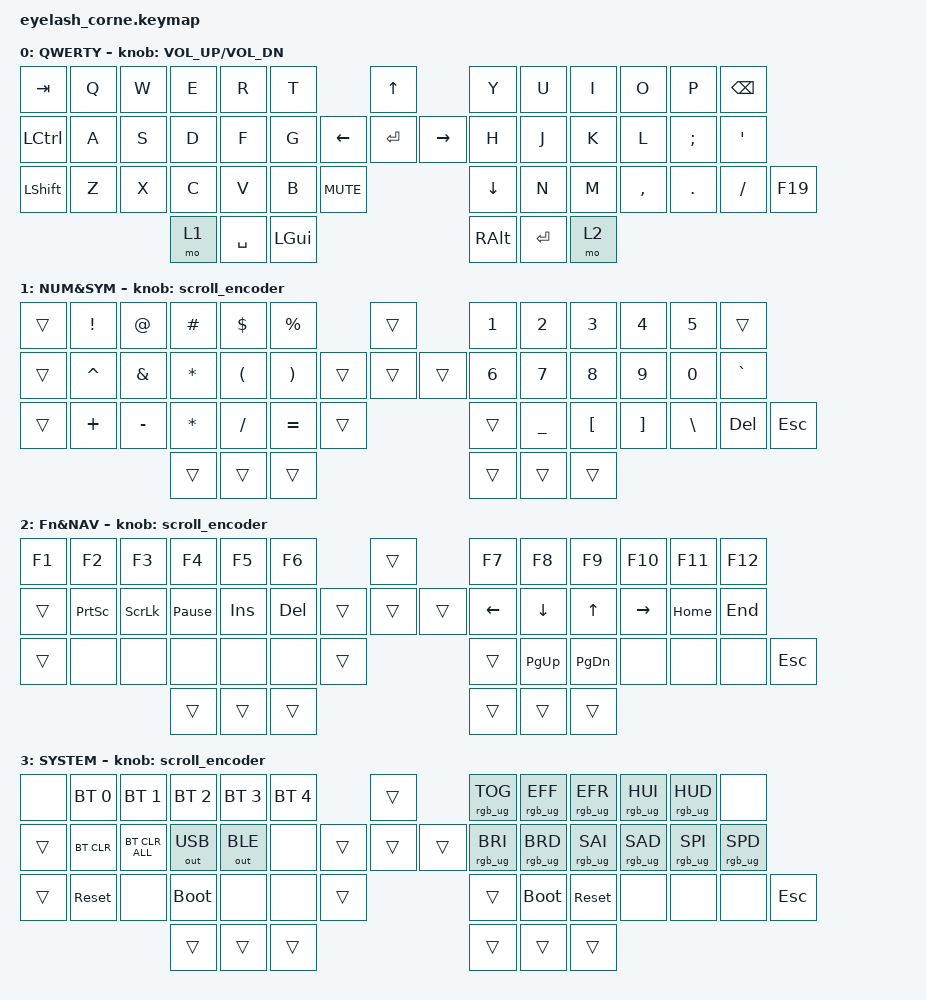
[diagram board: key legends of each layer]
#define ZMK_POINTING_DEFAULT_MOVE_VAL 1200  // 600
#define ZMK_POINTING_DEFAULT_SCRL_VAL 25   // 10

#include <input/processors.dtsi>
#include <zephyr/dt-bindings/input/input-event-codes.h>
#include <behaviors.dtsi>
#include <dt-bindings/zmk/bt.h>
#include <dt-bindings/zmk/keys.h>
#include <dt-bindings/zmk/outputs.h>
#include <dt-bindings/zmk/pointing.h>
#include <dt-bindings/zmk/rgb.h>

&mmv_input_listener { input-processors = <&zip_xy_scaler 2 1>; };

&msc_input_listener { input-processors = <&zip_scroll_scaler 2 1>; };

&msc {
    acceleration-exponent = <1>;      // 0
    time-to-max-speed-ms = <100>;       // 300
    delay-ms = <0>;                   // 0
};

&mmv {
    time-to-max-speed-ms = <500>;
    acceleration-exponent = <1>;
    trigger-period-ms = <16>;
};

&soft_off { hold-time-ms = <2000>; };

/ {
    rgb_encoder: rgb_encoder {
        compatible = "zmk,behavior-sensor-rotate";
        #sensor-binding-cells = <0>;
        bindings = <&rgb_ug RGB_BRI>, <&rgb_ug RGB_BRD>;
    };

    scroll_encoder: scroll_encoder {
        compatible = "zmk,behavior-sensor-rotate";
        #sensor-binding-cells = <0>;
        bindings = <&msc SCRL_DOWN>, <&msc SCRL_UP>;

        tap-ms = <100>;
    };

    combos {
        compatible = "zmk,combos";

        softoff {
            bindings = <&soft_off>;
            key-positions = <1 15 29>;
        };
    };

    conditional_layers {
        compatible = "zmk,conditional-layers";
        tri_layer {
            if-layers = <1 2>;
            then-layer = <3>;
        };
    };

    keymap {
        compatible = "zmk,keymap";

        default_layer {
            display-name = "QWERTY";
            bindings = <
&kp TAB    &kp Q  &kp W  &kp E     &kp R  &kp T                               &kp UP                &kp Y        &kp U  &kp I      &kp O    &kp P     &kp BSPC
&kp LCTRL  &kp A  &kp S  &kp D     &kp F  &kp G                     &kp LEFT  &kp ENTER  &kp RIGHT  &kp H        &kp J  &kp K      &kp L    &kp SEMI  &kp SQT
&kp LEFT_SHIFT  &kp Z  &kp X  &kp C     &kp V  &kp B        &kp C_MUTE              &kp DOWN              &kp N        &kp M  &kp COMMA  &kp DOT  &kp FSLH  &kp F19
                         &mo 1  &kp SPACE  &kp LGUI                                               &kp RALT  &kp ENTER  &mo 2
            >;

            sensor-bindings = <&inc_dec_kp C_VOLUME_UP C_VOL_DN>;
        };

        lower_layer {
            display-name = "NUM&SYM";
            bindings = <
&trans  &kp EXCL   &kp AT     &kp HASH   &kp DLLR  &kp PRCNT                            &trans                   &kp N1     &kp N2    &kp N3    &kp N4    &kp N5   &trans
&trans  &kp CARET  &kp AMPS   &kp ASTRK  &kp LPAR  &kp RPAR                &trans  &trans  &trans   &kp N6     &kp N7    &kp N8    &kp N9    &kp N0   &kp GRAVE
&trans  &kp PLUS   &kp MINUS  &kp ASTRK  &kp FSLH  &kp EQUAL  &trans                &trans                   &kp UNDER  &kp LBKT  &kp RBKT  &kp BSLH  &kp DEL  &kp ESC
                                          &trans     &trans     &trans                                         &trans     &trans    &trans
            >;

            sensor-bindings = <&scroll_encoder>;
        };

        raise_layer {
            display-name = "Fn&NAV";
            bindings = <
&kp F1  &kp F2         &kp F3        &kp F4     &kp F5     &kp F6                                  &trans                     &kp F7     &kp F8     &kp F9     &kp F10   &kp F11   &kp F12
&trans  &kp PRINTSCREEN  &kp SCROLLLOCK  &kp PAUSE_BREAK  &kp INS  &kp DEL              &trans  &trans  &trans   &kp LEFT   &kp DOWN   &kp UP     &kp RIGHT  &kp HOME  &kp END
&trans  &none          &none         &none      &none      &none      &trans                    &trans                     &kp PG_UP  &kp PG_DN  &none      &none     &none     &kp ESC
                                                &trans     &trans     &trans                                               &trans     &trans     &trans
            >;

            sensor-bindings = <&scroll_encoder>;
        };

        layer_3 {
            display-name = "SYSTEM";
            bindings = <
&none           &bt BT_SEL 0  &bt BT_SEL 1  &bt BT_SEL 2  &bt BT_SEL 3  &bt BT_SEL 4                       &trans                      &rgb_ug RGB_TOG  &rgb_ug RGB_EFF  &rgb_ug RGB_EFR  &rgb_ug RGB_HUI  &rgb_ug RGB_HUD  &none
&trans          &bt BT_CLR    &bt BT_CLR_ALL  &out OUT_USB  &out OUT_BLE  &none                 &trans  &trans  &trans   &rgb_ug RGB_BRI  &rgb_ug RGB_BRD  &rgb_ug RGB_SAI  &rgb_ug RGB_SAD  &rgb_ug RGB_SPI  &rgb_ug RGB_SPD
&trans          &sys_reset    &none           &bootloader   &none         &none     &trans                      &trans                      &bootloader      &sys_reset       &none            &none            &none            &kp ESC
                                                            &trans        &trans    &trans                                                  &trans           &trans           &trans
            >;

            sensor-bindings = <&scroll_encoder>;
        };
    };
};
